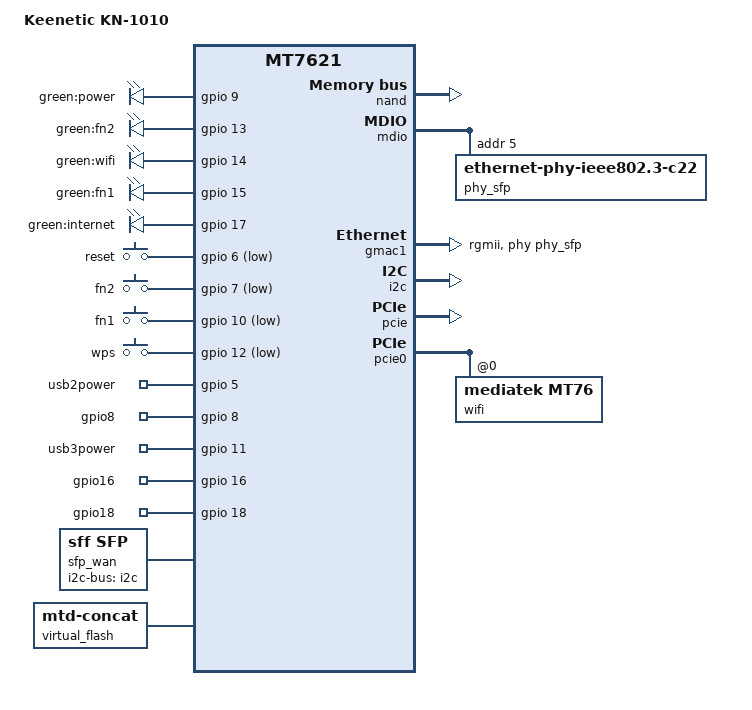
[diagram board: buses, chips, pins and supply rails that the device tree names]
// SPDX-License-Identifier: GPL-2.0-or-later OR MIT
#include "mt7621.dtsi"

#include <dt-bindings/gpio/gpio.h>
#include <dt-bindings/input/input.h>

/ {
	compatible = "keenetic,kn-1010", "mediatek,mt7621-soc";
	model = "Keenetic KN-1010";

	aliases {
		led-boot = &led_power;
		led-failsafe = &led_power;
		led-running = &led_power;
		led-upgrade = &led_power;
		label-mac-device = &gmac0;
	};

	chosen {
		bootargs = "console=ttyS0,57600";
	};

	leds {
		compatible = "gpio-leds";

		led_power: power {
			label = "green:power";
			gpios = <&gpio 9 GPIO_ACTIVE_HIGH>;
		};

		fn2 {
			label = "green:fn2";
			gpios = <&gpio 13 GPIO_ACTIVE_HIGH>;
		};

		wifi {
			label = "green:wifi";
			gpios = <&gpio 14 GPIO_ACTIVE_HIGH>;
		};

		fn1 {
			label = "green:fn1";
			gpios = <&gpio 15 GPIO_ACTIVE_HIGH>;
		};

		internet {
			label = "green:internet";
			gpios = <&gpio 17 GPIO_ACTIVE_HIGH>;
		};
	};

	keys {
		compatible = "gpio-keys";

		reset {
			label = "reset";
			gpios = <&gpio 6 GPIO_ACTIVE_LOW>;
			linux,code = <KEY_RESTART>;
		};

		fn2 {
			label = "fn2";
			gpios = <&gpio 7 GPIO_ACTIVE_LOW>;
			linux,code = <BTN_1>;
		};

		fn1 {
			label = "fn1";
			gpios = <&gpio 10 GPIO_ACTIVE_LOW>;
			linux,code = <BTN_0>;
		};

		wps {
			label = "wps";
			gpios = <&gpio 12 GPIO_ACTIVE_LOW>;
			linux,code = <KEY_WPS_BUTTON>;
		};
	};

	gpio_export {
		compatible = "gpio-export";
		#size-cells = <0>;

		usb2power {
			gpio-export,name = "usb2power";
			gpio-export,output = <1>;
			gpios = <&gpio 5 GPIO_ACTIVE_HIGH>;
		};

		// RTL8211F interrupt
		gpio8 {
			gpio-export,name = "gpio8";
			gpios = <&gpio 8 GPIO_ACTIVE_HIGH>;
		};

		usb3power {
			gpio-export,name = "usb3power";
			gpio-export,output = <1>;
			gpios = <&gpio 11 GPIO_ACTIVE_HIGH>;
		};

		// ?
		gpio16 {
			gpio-export,name = "gpio16";
			gpios = <&gpio 16 GPIO_ACTIVE_HIGH>;
		};

		// ?
		gpio18 {
			gpio-export,name = "gpio18";
			gpios = <&gpio 18 GPIO_ACTIVE_HIGH>;
		};
	};

	sfp_wan: sfp0 {
		compatible = "sff,sfp";
		i2c-bus = <&i2c>;
		maximum-power-milliwatt = <1000>;
	};

	virtual_flash {
		compatible = "mtd-concat";
		devices = <&firmware1 &storage1 &firmware2 &storage2>;

		partitions {
			compatible = "fixed-partitions";
			#address-cells = <1>;
			#size-cells = <1>;

			partition@0 {
				label = "kernel";
				reg = <0x0 0x400000>;
			};

			partition@400000 {
				label = "ubi";
				reg = <0x400000 0x0>;
			};
		};
	};
};

&state_default {
	gpio {
		groups = "uart3", "uart2", "jtag", "wdt";
		function = "gpio";
	};
};

&nand {
	status = "okay";

	partitions {
		compatible = "fixed-partitions";
		#address-cells = <1>;
		#size-cells = <1>;

		partition@0 {
			label = "u-boot";
			reg = <0x0 0x80000>;
			read-only;
		};

		partition@80000 {
			label = "u-config";
			reg = <0x80000 0x80000>;
			read-only;
		};

		factory: partition@100000 {
			label = "rf-eeprom";
			reg = <0x100000 0x80000>;
			read-only;
		};

		firmware1: partition@180000 {
			label = "firmware_1";
			reg = <0x180000 0x1bc0000>;
		};

		partition@1d40000 {
			label = "config_1";
			reg = <0x1d40000 0x80000>;
			read-only;
		};

		partition@1dc0000 {
			label = "storage_legacy";
			reg = <0x1dc0000 0x200000>;
			read-only;
		};

		partition@1fc0000 {
			label = "dump";
			reg = <0x1fc0000 0x40000>;
			read-only;
		};

		storage1: partition@2000000 {
			label = "storage_a";
			reg = <0x2000000 0x1fc0000>;
		};

		partition@3fc0000 {
			label = "u-state";
			reg = <0x3fc0000 0x80000>;
			read-only;
		};

		partition@4040000 {
			label = "u-config_res";
			reg = <0x4040000 0x80000>;
			read-only;
		};

		partition@40c0000 {
			label = "rf-eeprom_res";
			reg = <0x40c0000 0x80000>;
			read-only;
		};

		firmware2: partition@4140000 {
			label = "firmware_2";
			reg = <0x4140000 0x1bc0000>;
		};

		partition@5d00000 {
			label = "config_2";
			reg = <0x5d00000 0x80000>;
			read-only;
		};

		storage2: partition@5d80000 {
			label = "storage_b";
			reg = <0x5d80000 0x2200000>;
		};
	};
};

&mdio {
	phy_sfp: ethernet-phy@5 {
		compatible = "ethernet-phy-ieee802.3-c22";
		reg = <5>;
		sfp = <&sfp_wan>;
	};
};

&gmac0 {
	nvmem-cells = <&macaddr_factory_4>;
	nvmem-cell-names = "mac-address";
};

&gmac1 {
	status = "okay";
	label = "wan";
	phy-mode = "rgmii";
	phy-handle = <&phy_sfp>;

	nvmem-cells = <&macaddr_factory_28>;
	nvmem-cell-names = "mac-address";
};

&i2c {
	status = "okay";
};

&switch0 {
	ports {
		port@0 {
			status = "okay";
			label = "lan4";
		};

		port@1 {
			status = "okay";
			label = "lan3";
		};

		port@2 {
			status = "okay";
			label = "lan2";
		};

		port@3 {
			status = "okay";
			label = "lan1";
		};
	};
};

&pcie {
	status = "okay";
};

&pcie0 {
	wifi@0,0 {
		compatible = "mediatek,mt76";
		reg = <0x0000 0 0 0 0>;
		mediatek,mtd-eeprom = <&factory 0x0000>;
	};
};

&factory {
	compatible = "nvmem-cells";
	#address-cells = <1>;
	#size-cells = <1>;

	macaddr_factory_4: macaddr@4 {
		reg = <0x4 0x6>;
	};

	macaddr_factory_28: macaddr@28 {
		reg = <0x28 0x6>;
	};
};
